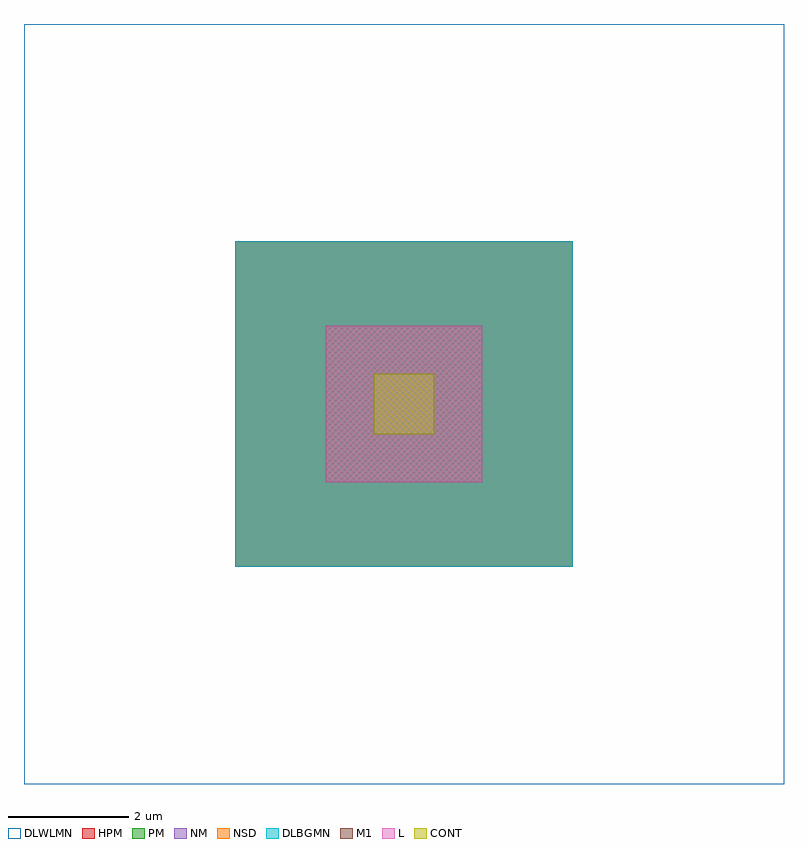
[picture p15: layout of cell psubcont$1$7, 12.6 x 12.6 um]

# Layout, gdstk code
import gdstk
lib = gdstk.Library(unit=1e-6, precision=1e-09)
def R(c, l, rs):  # rectangles x0, y0, x1, y1
    for r in rs: c.add(gdstk.rectangle(r[:2], r[2:], *l))
L = (3, 0)
NM = (7, 0)
CONT = (11, 0)
M1 = (13, 0)
NSD = (28, 0)
HPM = (33, 0)
PM = (35, 0)
DLWLMN = (151, 0)
DLBGMN = (178, 0)

dcont_1_7 = lib.new_cell('DCONT$1$7')
R(dcont_1_7, L, [(-1.3,-1.3,1.3,1.3)])
R(dcont_1_7, CONT, [(-0.5,-0.5,0.5,0.5)])
R(dcont_1_7, M1, [(-1.3,-1.3,1.3,1.3), (-0.5,-0.5,0.5,0.5)])

psubcont_1_7 = lib.new_cell('psubcont$1$7')
R(psubcont_1_7, NM, [(-2.8,-2.7,2.8,2.7)])
R(psubcont_1_7, NSD, [(-2.8,-2.7,2.8,2.7)])
R(psubcont_1_7, HPM, [(-2.8,-2.7,2.8,2.7)])
R(psubcont_1_7, PM, [(-2.8,-2.7,2.8,2.7)])
R(psubcont_1_7, DLWLMN, [(-6.3,-6.3,6.3,6.3)])
R(psubcont_1_7, DLBGMN, [(-2.8,-2.7,2.8,2.7)])
psubcont_1_7.add(gdstk.Reference(dcont_1_7, (0,0)))

lib.write_gds('psubcont_1_7.gds')
